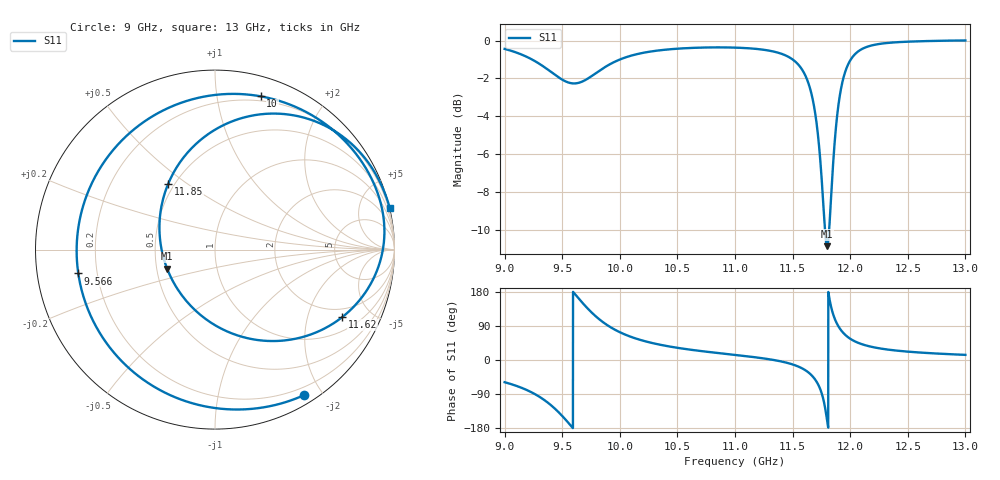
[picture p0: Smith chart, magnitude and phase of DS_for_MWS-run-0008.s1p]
! TOUCHSTONE file generated by CST DESIGN STUDIO
! Date and time: Tue Feb  4 15:52:09 2025
! Project name: C:\Work\MatlabApps\UnitCellOptimizationMatlab\CST\unitcell.cst
! Tree item: Tasks\Sweep1\SPara1\S-Parameters
! Header version: 2024
! Port assignment regex: !\s*Touchstone port\s*([0-9]+)\s*=\s*(CST MWS port|CST DES external port|CST DES block port)\s*(.+)\s* \(\"(.*)\"\)(\s*mode\s*([0-9]+))?.*
! Touchstone port assignment:
! Touchstone port 1 = CST DES external port 1 ("")
# GHz S MA R 50
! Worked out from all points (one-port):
!   4001 points, 9 GHz to 13 GHz, reference 50 ohm
!   lowest |S11| = -10.8 dB at 11.8 GHz (marker M1), VSWR 1.81, Z = 28.4 - j6.55 ohm
!   |S11| at or under -10 dB: 11.78138 GHz to 11.81698 GHz (35.6 MHz wide, 0.302 % of centre)
!   S11 on the Smith chart (normalised r, x): 9 GHz: 0.11, -1.78; 9.566 GHz: 0.13, -0.09; 10 GHz: 0.16, +1.33; 11.62 GHz: 1.58, -3.34; 11.85 GHz: 0.46, +0.42; 13 GHz: -0.02, +8.42
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9  0.9506 -58.6
9.155  0.9164 -74.3
9.306  0.8667 -97.8
9.407  0.8249 -120.4
9.5  0.7887 -147.6
9.566  0.7732 -170.1
9.66  0.7765 156.3
9.777  0.8144 119.2
9.876  0.8528 95.1
10  0.8911 73.4
10.214  0.9296 49.9
10.5  0.9517 32.2
11  0.9579 13.4
11.304  0.9397 1.6
11.5  0.8917 -11.7
11.615  0.8033 -27.8
11.673  0.7034 -42.9
11.727  0.5378 -67.9
11.763  0.3854 -99.0
11.799  0.287 -158.4
11.847  0.4496 125.5
11.878  0.5977 100.3
11.91  0.7163 83.0
12  0.8861 56.1
12.075  0.9389 44.6
12.173  0.9683 35.6
12.5  0.9931 22.1
13  1.001 13.6
